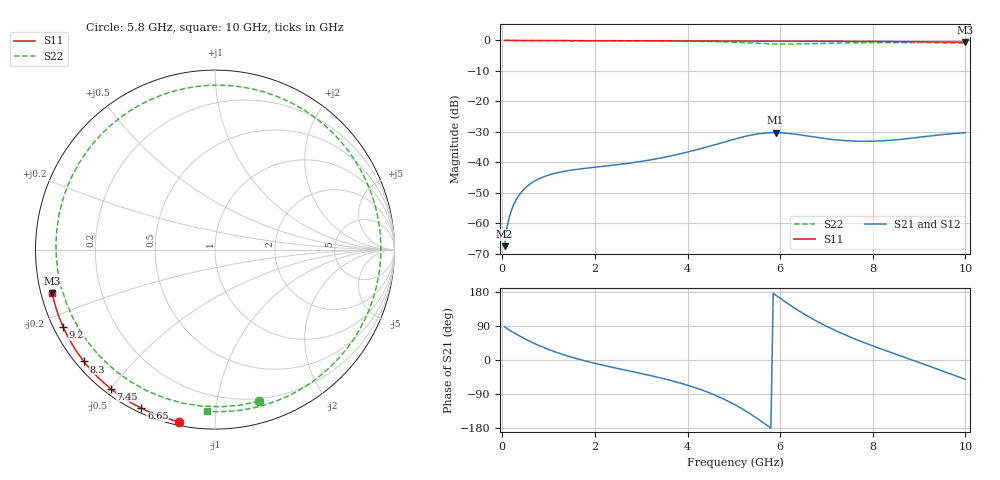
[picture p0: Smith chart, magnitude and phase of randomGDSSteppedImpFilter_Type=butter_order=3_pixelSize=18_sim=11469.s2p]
! freq	dB(S11)	phase(S11)	dB(S12)	phase(S12)
!  dB(S21)	phase(S21)	dB(S22)	phase(S22)
!S-par simulation data
#  GHz  S  DB  R 50
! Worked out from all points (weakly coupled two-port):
!   200 points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, 50 MHz to 10 GHz, reference 50 ohm
!   highest |S21| = -30.22 dB at 5.9 GHz (marker M1); lowest = -67.4 dB at 50 MHz (marker M2)
!   lowest |S11| = -0.5 dB at 10 GHz (marker M3), VSWR 31.62, Z = 1.61 - j6.53 ohm
!   |S11| at or under -10 dB: nowhere
!   |S22| runs from -1.2 to 0.0 dB; largest |S21 - S12| = 0
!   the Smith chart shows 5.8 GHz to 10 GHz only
!   S11 on the Smith chart (normalised r, x): 5.8 GHz: 0.02, -0.81; 6.65 GHz: 0.02, -0.64; 7.45 GHz: 0.02, -0.50; 8.3 GHz: 0.02, -0.37; 9.2 GHz: 0.03, -0.24; 10 GHz: 0.03, -0.13
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0.05  -0.00 -1.0  -67.43 87.6  -67.43 87.6  -0.00 -6.4
0.25  -0.01 -4.8  -53.68 71.9  -53.68 71.9  -0.04 -31.4
0.75  -0.02 -14.3  -45.66 40.5  -45.66 40.5  -0.09 -85.1
1.25  -0.03 -23.8  -43.16 16.9  -43.16 16.9  -0.11 -124.7
1.75  -0.04 -33.1  -41.98 -1.2  -41.98 -1.2  -0.11 -154.3
2.55  -0.06 -47.7  -40.60 -23.9  -40.60 -23.9  -0.12 167.8
3.4  -0.08 -62.6  -38.59 -46.8  -38.59 -46.8  -0.17 130.1
4.35  -0.11 -78.7  -35.20 -81.0  -35.20 -81.0  -0.31 78.5
5.05  -0.14 -90.1  -32.21 -119.8  -32.21 -119.8  -0.60 20.9
5.4  -0.16 -95.7  -30.95 -145.7  -30.95 -145.7  -0.84 -19.3
5.8  -0.18 -101.9  -30.24 -179.7  -30.24 -179.7  -1.11 -73.8
5.9  -0.18 -103.5  -30.22 171.6  -30.22 171.6  -1.15 -88.0
6.3  -0.21 -109.6  -30.68 137.9  -30.68 137.9  -1.15 -142.0
6.65  -0.23 -114.9  -31.46 111.8  -31.46 111.8  -1.04 177.6
6.7  -0.23 -115.7  -31.57 108.4  -31.57 108.4  -1.02 172.4
7.45  -0.28 -126.9  -32.88 63.9  -32.88 63.9  -0.80 104.5
7.85  -0.31 -132.9  -33.06 44.2  -33.06 44.2  -0.72 72.4
8.3  -0.36 -139.5  -32.81 23.9  -32.81 23.9  -0.68 37.1
8.35  -0.36 -140.3  -32.76 21.8  -32.76 21.8  -0.68 33.2
8.75  -0.40 -146.2  -32.18 4.4  -32.18 4.4  -0.68 1.8
9.2  -0.45 -152.9  -31.37 -15.4  -31.37 -15.4  -0.73 -33.4
10  -0.55 -165.1  -30.25 -51.1  -30.25 -51.1  -0.90 -92.9
